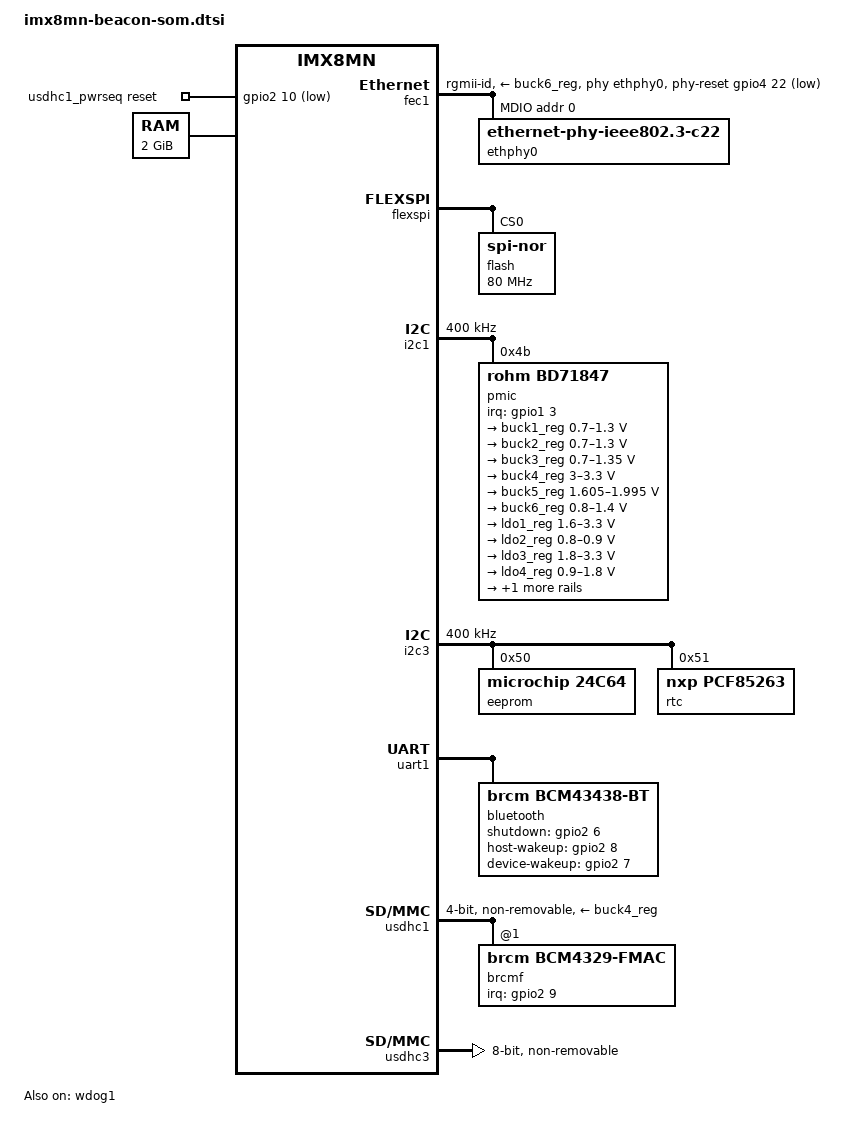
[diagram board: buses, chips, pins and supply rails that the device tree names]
// SPDX-License-Identifier: (GPL-2.0 OR MIT)
/*
 * Copyright 2020 Compass Electronics Group, LLC
 */

/ {
	aliases {
		rtc0 = &rtc;
		rtc1 = &snvs_rtc;
		spi0 = &flexspi;
	};

	usdhc1_pwrseq: usdhc1_pwrseq {
		compatible = "mmc-pwrseq-simple";
		pinctrl-names = "default";
		pinctrl-0 = <&pinctrl_usdhc1_gpio>;
		reset-gpios = <&gpio2 10 GPIO_ACTIVE_LOW>;
		clocks = <&osc_32k>;
		clock-names = "ext_clock";
		post-power-on-delay-ms = <80>;
	};

	memory@40000000 {
		device_type = "memory";
		reg = <0x0 0x40000000 0 0x80000000>;
	};
};

&A53_0 {
	cpu-supply = <&buck2_reg>;
};

&A53_1 {
	cpu-supply = <&buck2_reg>;
};

&A53_2 {
	cpu-supply = <&buck2_reg>;
};

&A53_3 {
	cpu-supply = <&buck2_reg>;
};

/* DDR controller is running LPDDR at 800MHz which requires 0.95V */
&a53_opp_table {
	opp-1200000000 {
		opp-microvolt = <950000>;
	};
};

&ddrc {
	operating-points-v2 = <&ddrc_opp_table>;

	ddrc_opp_table: opp-table {
		compatible = "operating-points-v2";

		opp-25M {
			opp-hz = /bits/ 64 <25000000>;
		};

		opp-100M {
			opp-hz = /bits/ 64 <100000000>;
		};

		opp-800M {
			opp-hz = /bits/ 64 <800000000>;
		};
	};
};

&fec1 {
	pinctrl-names = "default";
	pinctrl-0 = <&pinctrl_fec1>;
	phy-mode = "rgmii-id";
	phy-handle = <&ethphy0>;
	phy-supply = <&buck6_reg>;
	phy-reset-gpios = <&gpio4 22 GPIO_ACTIVE_LOW>;
	fsl,magic-packet;
	status = "okay";

	mdio {
		#address-cells = <1>;
		#size-cells = <0>;

		ethphy0: ethernet-phy@0 {
			compatible = "ethernet-phy-ieee802.3-c22";
			reg = <0>;
		};
	};
};

&flexspi {
	pinctrl-names = "default";
	pinctrl-0 = <&pinctrl_flexspi>;
	status = "okay";

	flash@0 {
		reg = <0>;
		#address-cells = <1>;
		#size-cells = <1>;
		compatible = "jedec,spi-nor";
		spi-max-frequency = <80000000>;
		spi-tx-bus-width = <4>;
		spi-rx-bus-width = <4>;
	};
};

&i2c1 {
	clock-frequency = <400000>;
	pinctrl-names = "default";
	pinctrl-0 = <&pinctrl_i2c1>;
	status = "okay";

	pmic@4b {
		compatible = "rohm,bd71847";
		reg = <0x4b>;
		pinctrl-names = "default";
		pinctrl-0 = <&pinctrl_pmic>;
		interrupt-parent = <&gpio1>;
		interrupts = <3 IRQ_TYPE_LEVEL_LOW>;
		rohm,reset-snvs-powered;
		#clock-cells = <0>;
		clocks = <&osc_32k 0>;
		clock-output-names = "clk-32k-out";

		regulators {
			buck1_reg: BUCK1 {
				regulator-name = "buck1";
				regulator-min-microvolt = <700000>;
				regulator-max-microvolt = <1300000>;
				regulator-boot-on;
				regulator-always-on;
				regulator-ramp-delay = <1250>;
			};

			buck2_reg: BUCK2 {
				regulator-name = "buck2";
				regulator-min-microvolt = <700000>;
				regulator-max-microvolt = <1300000>;
				regulator-boot-on;
				regulator-always-on;
				regulator-ramp-delay = <1250>;
				rohm,dvs-run-voltage = <1000000>;
				rohm,dvs-idle-voltage = <900000>;
			};

			buck3_reg: BUCK3 {
				// BUCK5 in datasheet
				regulator-name = "buck3";
				regulator-min-microvolt = <700000>;
				regulator-max-microvolt = <1350000>;
				regulator-boot-on;
				regulator-always-on;
			};

			buck4_reg: BUCK4 {
				// BUCK6 in datasheet
				regulator-name = "buck4";
				regulator-min-microvolt = <3000000>;
				regulator-max-microvolt = <3300000>;
				regulator-boot-on;
				regulator-always-on;
			};

			buck5_reg: BUCK5 {
				// BUCK7 in datasheet
				regulator-name = "buck5";
				regulator-min-microvolt = <1605000>;
				regulator-max-microvolt = <1995000>;
				regulator-boot-on;
				regulator-always-on;
			};

			buck6_reg: BUCK6 {
				// BUCK8 in datasheet
				regulator-name = "buck6";
				regulator-min-microvolt = <800000>;
				regulator-max-microvolt = <1400000>;
				regulator-boot-on;
				regulator-always-on;
			};

			ldo1_reg: LDO1 {
				regulator-name = "ldo1";
				regulator-min-microvolt = <1600000>;
				regulator-max-microvolt = <3300000>;
				regulator-boot-on;
				regulator-always-on;
			};

			ldo2_reg: LDO2 {
				regulator-name = "ldo2";
				regulator-min-microvolt = <800000>;
				regulator-max-microvolt = <900000>;
				regulator-boot-on;
				regulator-always-on;
			};

			ldo3_reg: LDO3 {
				regulator-name = "ldo3";
				regulator-min-microvolt = <1800000>;
				regulator-max-microvolt = <3300000>;
				regulator-boot-on;
				regulator-always-on;
			};

			ldo4_reg: LDO4 {
				regulator-name = "ldo4";
				regulator-min-microvolt = <900000>;
				regulator-max-microvolt = <1800000>;
				regulator-boot-on;
				regulator-always-on;
			};

			ldo6_reg: LDO6 {
				regulator-name = "ldo6";
				regulator-min-microvolt = <900000>;
				regulator-max-microvolt = <1800000>;
				regulator-boot-on;
				regulator-always-on;
			};
		};
	};
};

&i2c3 {
	clock-frequency = <400000>;
	pinctrl-names = "default";
	pinctrl-0 = <&pinctrl_i2c3>;
	status = "okay";

	eeprom@50 {
		compatible = "microchip,24c64", "atmel,24c64";
		pagesize = <32>;
		read-only;	/* Manufacturing EEPROM programmed at factory */
		reg = <0x50>;
	};

	rtc: rtc@51 {
		compatible = "nxp,pcf85263";
		reg = <0x51>;
	};
};

&uart1 {
	pinctrl-names = "default";
	pinctrl-0 = <&pinctrl_uart1>;
	assigned-clocks = <&clk IMX8MN_CLK_UART1>;
	assigned-clock-parents = <&clk IMX8MN_SYS_PLL1_80M>;
	uart-has-rtscts;
	status = "okay";

	bluetooth {
		compatible = "brcm,bcm43438-bt";
		shutdown-gpios = <&gpio2 6 GPIO_ACTIVE_HIGH>;
		host-wakeup-gpios = <&gpio2 8 GPIO_ACTIVE_HIGH>;
		device-wakeup-gpios = <&gpio2 7 GPIO_ACTIVE_HIGH>;
		clocks = <&osc_32k>;
		max-speed = <4000000>;
		clock-names = "extclk";
	};
};

&usdhc1 {
	#address-cells = <1>;
	#size-cells = <0>;
	pinctrl-names = "default", "state_100mhz", "state_200mhz";
	pinctrl-0 = <&pinctrl_usdhc1>;
	pinctrl-1 = <&pinctrl_usdhc1_100mhz>;
	pinctrl-2 = <&pinctrl_usdhc1_200mhz>;
	vmmc-supply = <&buck4_reg>;
	vqmmc-supply = <&buck5_reg>;
	bus-width = <4>;
	non-removable;
	cap-power-off-card;
	pm-ignore-notify;
	keep-power-in-suspend;
	mmc-pwrseq = <&usdhc1_pwrseq>;
	status = "okay";

	brcmf: bcrmf@1 {
		reg = <1>;
		compatible = "brcm,bcm4329-fmac";
		pinctrl-names = "default";
		pinctrl-0 = <&pinctrl_wlan>;
		interrupt-parent = <&gpio2>;
		interrupts = <9 IRQ_TYPE_LEVEL_HIGH>;
		interrupt-names = "host-wake";
	};
};

&usdhc3 {
	pinctrl-names = "default", "state_100mhz", "state_200mhz";
	pinctrl-0 = <&pinctrl_usdhc3>;
	pinctrl-1 = <&pinctrl_usdhc3_100mhz>;
	pinctrl-2 = <&pinctrl_usdhc3_200mhz>;
	bus-width = <8>;
	non-removable;
	status = "okay";
};

&wdog1 {
	pinctrl-names = "default";
	pinctrl-0 = <&pinctrl_wdog>;
	fsl,ext-reset-output;
	status = "okay";
};

&iomuxc {
	pinctrl_fec1: fec1grp {
		fsl,pins = <
			MX8MN_IOMUXC_ENET_MDC_ENET1_MDC		0x3
			MX8MN_IOMUXC_ENET_MDIO_ENET1_MDIO	0x3
			MX8MN_IOMUXC_ENET_TD3_ENET1_RGMII_TD3	0x1f
			MX8MN_IOMUXC_ENET_TD2_ENET1_RGMII_TD2	0x1f
			MX8MN_IOMUXC_ENET_TD1_ENET1_RGMII_TD1	0x1f
			MX8MN_IOMUXC_ENET_TD0_ENET1_RGMII_TD0	0x1f
			MX8MN_IOMUXC_ENET_RD3_ENET1_RGMII_RD3	0x91
			MX8MN_IOMUXC_ENET_RD2_ENET1_RGMII_RD2	0x91
			MX8MN_IOMUXC_ENET_RD1_ENET1_RGMII_RD1	0x91
			MX8MN_IOMUXC_ENET_RD0_ENET1_RGMII_RD0	0x91
			MX8MN_IOMUXC_ENET_TXC_ENET1_RGMII_TXC	0x1f
			MX8MN_IOMUXC_ENET_RXC_ENET1_RGMII_RXC	0x91
			MX8MN_IOMUXC_ENET_RX_CTL_ENET1_RGMII_RX_CTL	0x91
			MX8MN_IOMUXC_ENET_TX_CTL_ENET1_RGMII_TX_CTL	0x1f
			MX8MN_IOMUXC_SAI2_RXC_GPIO4_IO22	0x19
		>;
	};

	pinctrl_i2c1: i2c1grp {
		fsl,pins = <
			MX8MN_IOMUXC_I2C1_SCL_I2C1_SCL		0x400001c3
			MX8MN_IOMUXC_I2C1_SDA_I2C1_SDA		0x400001c3
		>;
	};

	pinctrl_i2c3: i2c3grp {
		fsl,pins = <
			MX8MN_IOMUXC_I2C3_SCL_I2C3_SCL		0x400001c3
			MX8MN_IOMUXC_I2C3_SDA_I2C3_SDA		0x400001c3
		>;
	};

	pinctrl_flexspi: flexspigrp {
		fsl,pins = <
			MX8MN_IOMUXC_NAND_ALE_QSPI_A_SCLK               0x1c2
			MX8MN_IOMUXC_NAND_CE0_B_QSPI_A_SS0_B            0x82
			MX8MN_IOMUXC_NAND_DATA00_QSPI_A_DATA0           0x82
			MX8MN_IOMUXC_NAND_DATA01_QSPI_A_DATA1           0x82
			MX8MN_IOMUXC_NAND_DATA02_QSPI_A_DATA2           0x82
			MX8MN_IOMUXC_NAND_DATA03_QSPI_A_DATA3           0x82
		>;
	};

	pinctrl_pmic: pmicirqgrp {
		fsl,pins = <
			MX8MN_IOMUXC_GPIO1_IO03_GPIO1_IO3		0x141
		>;
	};

	pinctrl_uart1: uart1grp {
		fsl,pins = <
			MX8MN_IOMUXC_UART1_RXD_UART1_DCE_RX	0x140
			MX8MN_IOMUXC_UART1_TXD_UART1_DCE_TX	0x140
			MX8MN_IOMUXC_UART3_RXD_UART1_DCE_CTS_B	0x140
			MX8MN_IOMUXC_UART3_TXD_UART1_DCE_RTS_B	0x140
			MX8MN_IOMUXC_SD1_DATA4_GPIO2_IO6	0x19
			MX8MN_IOMUXC_SD1_DATA5_GPIO2_IO7	0x19
			MX8MN_IOMUXC_SD1_DATA6_GPIO2_IO8	0x19
			MX8MN_IOMUXC_GPIO1_IO00_ANAMIX_REF_CLK_32K	0x141
		>;
	};

	pinctrl_usdhc1_gpio: usdhc1gpiogrp {
		fsl,pins = <
			MX8MN_IOMUXC_SD1_RESET_B_GPIO2_IO10	0x41
		>;
	};

	pinctrl_usdhc1: usdhc1grp {
		fsl,pins = <
			MX8MN_IOMUXC_SD1_CLK_USDHC1_CLK		0x190
			MX8MN_IOMUXC_SD1_CMD_USDHC1_CMD		0x1d0
			MX8MN_IOMUXC_SD1_DATA0_USDHC1_DATA0	0x1d0
			MX8MN_IOMUXC_SD1_DATA1_USDHC1_DATA1	0x1d0
			MX8MN_IOMUXC_SD1_DATA2_USDHC1_DATA2	0x1d0
			MX8MN_IOMUXC_SD1_DATA3_USDHC1_DATA3	0x1d0
		>;
	};

	pinctrl_usdhc1_100mhz: usdhc1-100mhzgrp {
		fsl,pins = <
			MX8MN_IOMUXC_SD1_CLK_USDHC1_CLK		0x194
			MX8MN_IOMUXC_SD1_CMD_USDHC1_CMD		0x1d4
			MX8MN_IOMUXC_SD1_DATA0_USDHC1_DATA0	0x1d4
			MX8MN_IOMUXC_SD1_DATA1_USDHC1_DATA1	0x1d4
			MX8MN_IOMUXC_SD1_DATA2_USDHC1_DATA2	0x1d4
			MX8MN_IOMUXC_SD1_DATA3_USDHC1_DATA3	0x1d4
		>;
	};

	pinctrl_usdhc1_200mhz: usdhc1-200mhzgrp {
		fsl,pins = <
			MX8MN_IOMUXC_SD1_CLK_USDHC1_CLK		0x196
			MX8MN_IOMUXC_SD1_CMD_USDHC1_CMD		0x1d6
			MX8MN_IOMUXC_SD1_DATA0_USDHC1_DATA0	0x1d6
			MX8MN_IOMUXC_SD1_DATA1_USDHC1_DATA1	0x1d6
			MX8MN_IOMUXC_SD1_DATA2_USDHC1_DATA2	0x1d6
			MX8MN_IOMUXC_SD1_DATA3_USDHC1_DATA3	0x1d6
		>;
	};

	pinctrl_usdhc3: usdhc3grp {
		fsl,pins = <
			MX8MN_IOMUXC_NAND_WE_B_USDHC3_CLK		0x190
			MX8MN_IOMUXC_NAND_WP_B_USDHC3_CMD		0x1d0
			MX8MN_IOMUXC_NAND_DATA04_USDHC3_DATA0		0x1d0
			MX8MN_IOMUXC_NAND_DATA05_USDHC3_DATA1		0x1d0
			MX8MN_IOMUXC_NAND_DATA06_USDHC3_DATA2		0x1d0
			MX8MN_IOMUXC_NAND_DATA07_USDHC3_DATA3		0x1d0
			MX8MN_IOMUXC_NAND_RE_B_USDHC3_DATA4		0x1d0
			MX8MN_IOMUXC_NAND_CE2_B_USDHC3_DATA5		0x1d0
			MX8MN_IOMUXC_NAND_CE3_B_USDHC3_DATA6		0x1d0
			MX8MN_IOMUXC_NAND_CLE_USDHC3_DATA7		0x1d0
			MX8MN_IOMUXC_NAND_CE1_B_USDHC3_STROBE		0x190
		>;
	};

	pinctrl_usdhc3_100mhz: usdhc3-100mhzgrp {
		fsl,pins = <
			MX8MN_IOMUXC_NAND_WE_B_USDHC3_CLK		0x194
			MX8MN_IOMUXC_NAND_WP_B_USDHC3_CMD		0x1d4
			MX8MN_IOMUXC_NAND_DATA04_USDHC3_DATA0		0x1d4
			MX8MN_IOMUXC_NAND_DATA05_USDHC3_DATA1		0x1d4
			MX8MN_IOMUXC_NAND_DATA06_USDHC3_DATA2		0x1d4
			MX8MN_IOMUXC_NAND_DATA07_USDHC3_DATA3		0x1d4
			MX8MN_IOMUXC_NAND_RE_B_USDHC3_DATA4		0x1d4
			MX8MN_IOMUXC_NAND_CE2_B_USDHC3_DATA5		0x1d4
			MX8MN_IOMUXC_NAND_CE3_B_USDHC3_DATA6		0x1d4
			MX8MN_IOMUXC_NAND_CLE_USDHC3_DATA7		0x1d4
			MX8MN_IOMUXC_NAND_CE1_B_USDHC3_STROBE		0x194
		>;
	};

	pinctrl_usdhc3_200mhz: usdhc3-200mhzgrp {
		fsl,pins = <
			MX8MN_IOMUXC_NAND_WE_B_USDHC3_CLK		0x196
			MX8MN_IOMUXC_NAND_WP_B_USDHC3_CMD		0x1d6
			MX8MN_IOMUXC_NAND_DATA04_USDHC3_DATA0		0x1d6
			MX8MN_IOMUXC_NAND_DATA05_USDHC3_DATA1		0x1d6
			MX8MN_IOMUXC_NAND_DATA06_USDHC3_DATA2		0x1d6
			MX8MN_IOMUXC_NAND_DATA07_USDHC3_DATA3		0x1d6
			MX8MN_IOMUXC_NAND_RE_B_USDHC3_DATA4		0x1d6
			MX8MN_IOMUXC_NAND_CE2_B_USDHC3_DATA5		0x1d6
			MX8MN_IOMUXC_NAND_CE3_B_USDHC3_DATA6		0x1d6
			MX8MN_IOMUXC_NAND_CLE_USDHC3_DATA7		0x1d6
			MX8MN_IOMUXC_NAND_CE1_B_USDHC3_STROBE		0x196
		>;
	};

	pinctrl_wdog: wdoggrp {
		fsl,pins = <
			MX8MN_IOMUXC_GPIO1_IO02_WDOG1_WDOG_B		0xc6
		>;
	};

	pinctrl_wlan: wlangrp {
		fsl,pins = <
			MX8MN_IOMUXC_SD1_DATA7_GPIO2_IO9		0x111
		>;
	};
};
